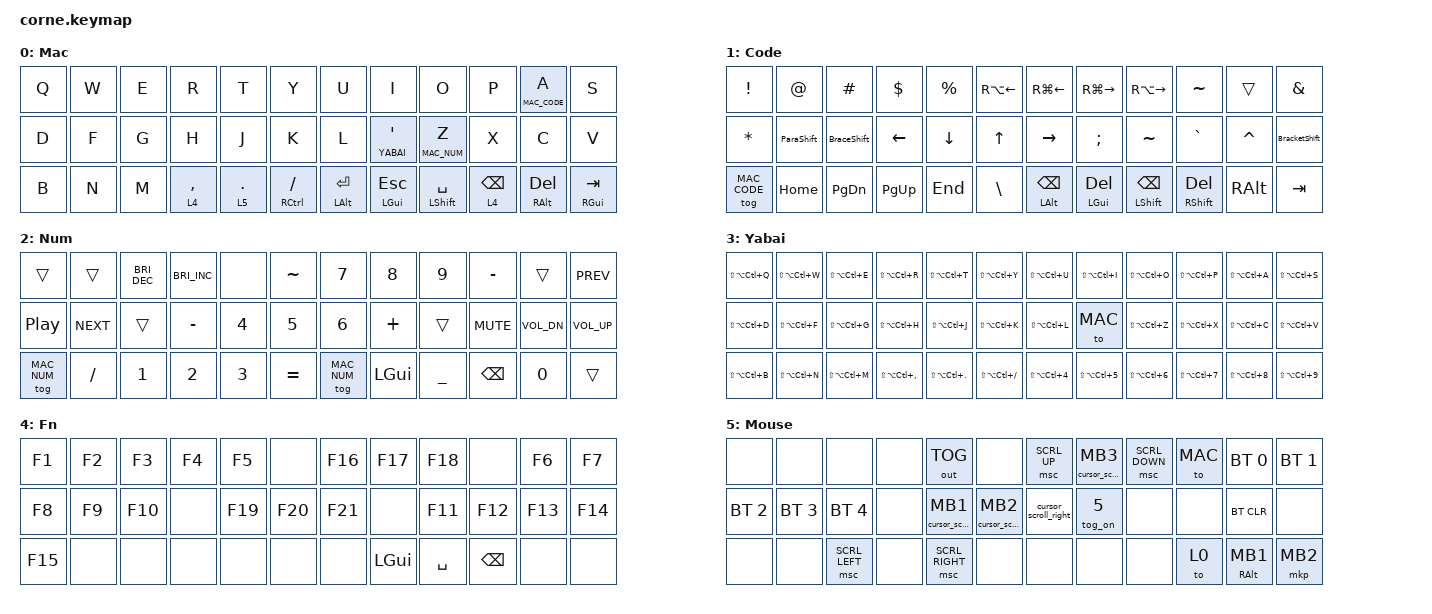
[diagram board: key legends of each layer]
#define ZMK_POINTING_DEFAULT_MOVE_VAL 700  // default: 600
#define ZMK_POINTING_DEFAULT_SCRL_VAL 20    // default: 10

#include <behaviors.dtsi>
#include <dt-bindings/zmk/bt.h>
#include <dt-bindings/zmk/keys.h>
#include <dt-bindings/zmk/outputs.h>
#include <dt-bindings/zmk/pointing.h>

// Layers

#define MAC 0
#define MAC_CODE 1
#define MAC_NUM 2
#define YABAI 3
#define FN_BT 4
#define MOUSE 5

// Behavior Overrides

&lt {
    tapping-term-ms = <200>;
    flavor = "balanced";
};

/ {
    chosen {
        zmk,physical-layout = &foostan_corne_5col_layout;
        zmk,matrix-transform = &five_column_transform;
    };
};

/ {
    behaviors {
        bm: bottom_row_mods {
            compatible = "zmk,behavior-hold-tap";
            label = "BOTTOM_ROW_MODS";
            #binding-cells = <2>;
            tapping-term-ms = <135>;
            quick-tap-ms = <0>;
            flavor = "tap-preferred";
            bindings = <&kp>, <&kp>;
        };

        cm: code_row_mods {
            compatible = "zmk,behavior-hold-tap";
            label = "CODE_ROW_MODS";
            #binding-cells = <2>;
            tapping-term-ms = <200>;
            quick-tap-ms = <0>;
            flavor = "tap-preferred";
            bindings = <&kp>, <&kp>;

            retro-tap;
        };

        tdPar: tap_dance_0 {
            compatible = "zmk,behavior-tap-dance";
            #binding-cells = <0>;
            tapping-term-ms = <200>;
            bindings = <&kp LPAR>, <&kp RPAR>;

            label = "( )";
        };

        sm: space_mod {
            compatible = "zmk,behavior-hold-tap";
            label = "SPACE_MOD";
            #binding-cells = <2>;
            flavor = "balanced";
            tapping-term-ms = <200>;
            quick-tap-ms = <125>;
            bindings = <&kp>, <&kp>;
        };

        tog_on: toggle_layer_on_only {
            compatible = "zmk,behavior-toggle-layer";
            label = "TOG_ON";
            #binding-cells = <1>;
            display-name = "Toggle Layer On";
            toggle-mode = "on";
            locking;
        };

        tdBrk: tdBrk {
            compatible = "zmk,behavior-tap-dance";
            label = "TDBRK";
            #binding-cells = <0>;
            bindings = <&kp LBKT>, <&kp RBKT>;
        };

        tdBrc: tdBrc {
            compatible = "zmk,behavior-tap-dance";
            label = "TDBRC";
            #binding-cells = <0>;
            bindings = <&kp LBRC>, <&kp RBRC>;
        };

        tdYabaiQouteGrave: tdYabaiQouteGrave {
            compatible = "zmk,behavior-tap-dance";
            label = "TDYABAIQOUTEGRAVE";
            #binding-cells = <0>;
            bindings = <&lt YABAI SQT>, <&tog YABAI>;

            tapping-term-ms = <150>;
        };

        tdSpaceShiftCaps: tdSpaceShiftCaps {
            compatible = "zmk,behavior-tap-dance";
            label = "TDSPACESHIFTCAPS";
            #binding-cells = <0>;
            bindings = <&mt LSHIFT SPACE>, <&caps_word>;
        };

        ParaShift: ParaShift {
            compatible = "zmk,behavior-mod-morph";
            label = "PARASHIFT";
            bindings = <&tdPar>, <&kp RPAR>;

            #binding-cells = <0>;
            mods = <(MOD_LSFT)>;
        };

        BraceShift: BraceShift {
            compatible = "zmk,behavior-mod-morph";
            label = "BRACESHIFT";
            bindings = <&tdBrc>, <&kp RIGHT_BRACE>;

            #binding-cells = <0>;
            mods = <(MOD_LSFT)>;
        };

        BracketShift: BracketShift {
            compatible = "zmk,behavior-mod-morph";
            label = "BRACKETSHIFT";
            bindings = <&tdBrk>, <&kp RBKT>;

            #binding-cells = <0>;
            mods = <(MOD_LSFT)>;
        };

        cursor_scroll_left: cursor_scroll_left {
            compatible = "zmk,behavior-mod-morph";
            label = "CURSOR_SCROLL_LEFT";
            bindings = <&mmv MOVE_LEFT>, <&msc SCRL_LEFT>;

            #binding-cells = <0>;
            mods = <(MOD_RALT)>;
        };

        cursor_scroll_right: cursor_scroll_right {
            compatible = "zmk,behavior-mod-morph";
            label = "CURSOR_SCROLL_RIGHT";
            bindings = <&mmv MOVE_RIGHT>, <&msc SCRL_RIGHT>;

            #binding-cells = <0>;
            mods = <(MOD_RALT)>;
        };

        cursor_scroll_up: cursor_scroll_up {
            compatible = "zmk,behavior-mod-morph";
            label = "CURSOR_SCROLL_UP";
            bindings = <&mmv MOVE_UP>, <&msc SCRL_UP>;

            #binding-cells = <0>;
            mods = <(MOD_RALT)>;
        };

        cursor_scroll_down: cursor_scroll_down {
            compatible = "zmk,behavior-mod-morph";
            label = "CURSOR_SCROLL_DOWN";
            bindings = <&mmv MOVE_DOWN>, <&msc SCRL_DOWN>;

            #binding-cells = <0>;
            mods = <(MOD_RALT)>;
        };

        ht_mouse: ht_mouse {
            compatible = "zmk,behavior-hold-tap";
            label = "HT_MOUSE";
            bindings = <&kp>, <&mkp>;

            #binding-cells = <2>;
            tapping-term-ms = <200>;
            flavor = "balanced";
        };

        mb1_csl: mb1_csl {
            compatible = "zmk,behavior-hold-tap";
            label = "MB1_CSL";
            bindings = <&cursor_scroll_left>, <&mkp>;

            #binding-cells = <2>;
            tapping-term-ms = <200>;
            flavor = "balanced";
        };

        mb2_csd: mb2_csd {
            compatible = "zmk,behavior-hold-tap";
            label = "MB2_CSD";
            bindings = <&cursor_scroll_down>, <&mkp>;

            #binding-cells = <2>;
            tapping-term-ms = <200>;
            flavor = "balanced";
        };

        mb3_csu: mb3_csu {
            compatible = "zmk,behavior-hold-tap";
            label = "MB3_CSU";
            bindings = <&cursor_scroll_up>, <&mkp>;

            #binding-cells = <2>;
            tapping-term-ms = <200>;
            flavor = "balanced";
        };
    };

    combos {
        compatible = "zmk,combos";

        leftspace {
            bindings = <&kp LS(LA(LC(A)))>;
            key-positions = <13 12>;
            layers = <0>;
        };

        rightspace {
            bindings = <&kp LC(LS(LA(N8)))>;
            key-positions = <16 17>;
            layers = <0>;
        };
    };

    keymap {
        compatible = "zmk,keymap";

        mac_default_layer {
            display-name = "Mac";
            bindings = <
&kp Q  &kp W  &kp E  &kp R        &kp T         &kp Y              &kp U           &kp I          &kp O                 &kp P            &lt MAC_CODE A  &kp S
&kp D  &kp F  &kp G  &kp H        &kp J         &kp K              &kp L           &lt YABAI SQT  &lt MAC_NUM Z         &kp X            &kp C           &kp V
&kp B  &kp N  &kp M  &lt 4 COMMA  &lt 5 PERIOD  &mt RCTRL SLASH    &mt LALT ENTER  &mt LGUI ESC   &mt LEFT_SHIFT SPACE  &lt 4 BACKSPACE  &mt RALT DEL    &mt RIGHT_GUI TAB
            >;
        };

        mac_code_layer {
            display-name = "Code";
            bindings = <
&kp EXCL       &kp AT      &kp HASH       &kp DOLLAR   &kp PERCENT  &kp RA(LEFT)     &kp RG(LEFT)            &kp RG(RIGHT)  &kp RA(RIGHT)             &kp TILDE               &trans     &kp AMPERSAND
&kp ASTRK      &ParaShift  &BraceShift    &kp LEFT     &kp DOWN     &kp UP           &kp RIGHT               &kp SEMI       &kp TILDE                 &kp GRAVE               &kp CARET  &BracketShift
&tog MAC_CODE  &kp HOME    &kp PAGE_DOWN  &kp PAGE_UP  &kp END      &kp BACKSLASH    &mt LEFT_ALT BACKSPACE  &mt LGUI DEL   &mt LEFT_SHIFT BACKSPACE  &mt RIGHT_SHIFT DELETE  &kp RALT   &kp TAB
            >;
        };

        mac_function_layer {
            display-name = "Num";
            bindings = <
&trans            &trans      &kp C_BRI_DEC  &kp C_BRIGHTNESS_INC  &none   &kp TILDE    &kp N7        &kp N8        &kp N9          &kp MINUS      &trans        &kp C_PREV
&kp C_PLAY_PAUSE  &kp C_NEXT  &trans         &kp MINUS             &kp N4  &kp N5       &kp N6        &kp PLUS      &trans          &kp C_MUTE     &kp C_VOL_DN  &kp C_VOL_UP
&tog MAC_NUM      &kp SLASH   &kp N1         &kp N2                &kp N3  &kp EQUAL    &tog MAC_NUM  &kp LEFT_GUI  &kp UNDERSCORE  &kp BACKSPACE  &kp N0        &trans
            >;
        };

        yabai_layer {
            display-name = "Yabai";
            bindings = <
&kp LS(LA(LC(Q)))  &kp LS(LA(LC(W)))  &kp LS(LA(LC(E)))  &kp LS(LA(LC(R)))      &kp LS(LA(LC(T)))    &kp LS(LA(LC(Y)))        &kp LS(LA(LC(U)))         &kp LS(LA(LC(I)))         &kp LS(LA(LC(O)))         &kp LS(LA(LC(P)))         &kp LS(LA(LC(A)))         &kp LS(LA(LC(S)))
&kp LS(LA(LC(D)))  &kp LS(LA(LC(F)))  &kp LS(LA(LC(G)))  &kp LS(LA(LC(H)))      &kp LS(LA(LC(J)))    &kp LS(LA(LC(K)))        &kp LS(LA(LC(L)))         &to MAC                   &kp LS(LA(LC(Z)))         &kp LS(LA(LC(X)))         &kp LS(LA(LC(C)))         &kp LS(LA(LC(V)))
&kp LS(LA(LC(B)))  &kp LS(LA(LC(N)))  &kp LS(LA(LC(M)))  &kp LS(LA(LC(COMMA)))  &kp LS(LA(LC(DOT)))  &kp LS(LA(LC(SLASH)))    &kp LS(LA(LC(NUMBER_4)))  &kp LS(LA(LC(NUMBER_5)))  &kp LS(LA(LC(NUMBER_6)))  &kp LS(LA(LC(NUMBER_7)))  &kp LS(LA(LC(NUMBER_8)))  &kp LS(LA(LC(NUMBER_9)))
            >;
        };

        function_key_appshortcut_layer {
            display-name = "Fn";
            bindings = <
&kp F1   &kp F2  &kp F3   &kp F4  &kp F5   &none      &kp F16  &kp F17       &kp F18    &none          &kp F6   &kp F7
&kp F8   &kp F9  &kp F10  &none   &kp F19  &kp F20    &kp F21  &none         &kp F11    &kp F12        &kp F13  &kp F14
&kp F15  &none   &none    &none   &none    &none      &none    &kp LEFT_GUI  &kp SPACE  &kp BACKSPACE  &none    &none
            >;
        };

        mouse {
            display-name = "Mouse";
            bindings = <
&none         &none         &none           &none  &out OUT_TOG     &none             &msc SCRL_UP          &mb3_csu 0 MB3  &msc SCRL_DOWN  &to MAC  &bt BT_SEL 0        &bt BT_SEL 1
&bt BT_SEL 2  &bt BT_SEL 3  &bt BT_SEL 4    &none  &mb1_csl 0 MB1   &mb2_csd 0 MB2    &cursor_scroll_right  &tog_on 5       &none           &none    &bt BT_CLR          &none
&none         &none         &msc SCRL_LEFT  &none  &msc SCRL_RIGHT  &none             &none                 &none           &none           &to 0    &ht_mouse RALT MB1  &mkp MB2
            >;
        };
    };
};
